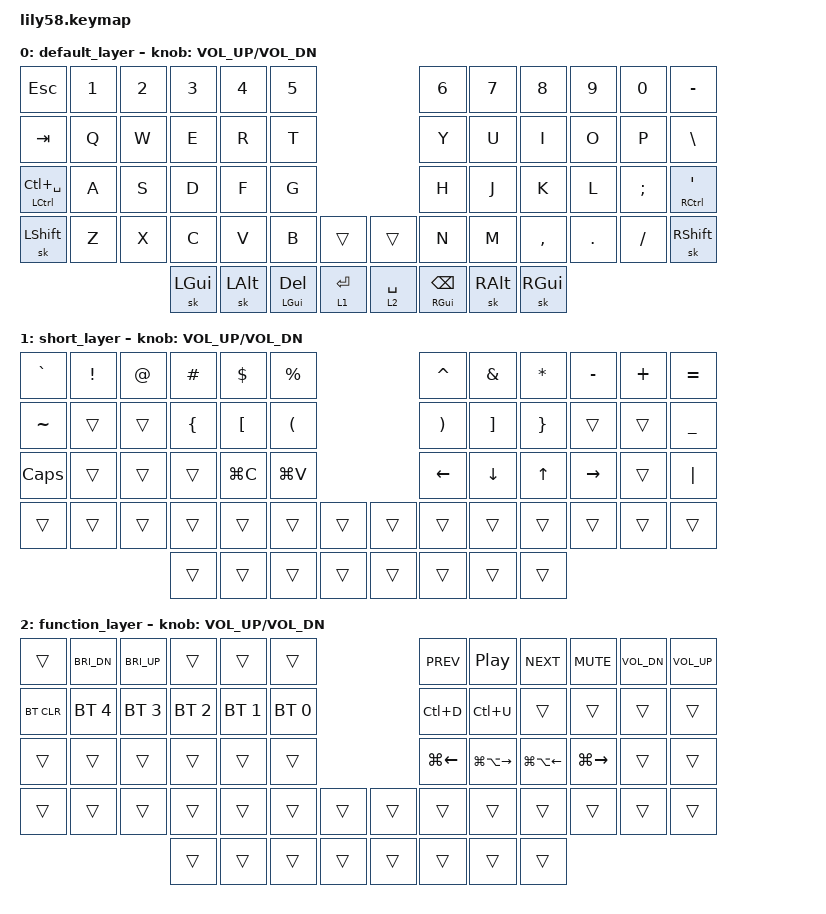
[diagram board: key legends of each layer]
/*
 * Copyright (c) 2020 The ZMK Contributors
 *
 * SPDX-License-Identifier: MIT
 */

#include <behaviors.dtsi>
#include <dt-bindings/zmk/keys.h>
#include <dt-bindings/zmk/bt.h>
#include <dt-bindings/zmk/ext_power.h>
&soft_off {
  hold-time-ms = <2000>; //Only turn off it the key is held for 2 second
  /delete-property/ split-peripheral-off-on-press; // 叫右手不要偷跑立即關機，左右手一起等滿 2 秒
    
};

/ {
    combos {
        compatible = "zmk,combos";
        combo_panic {
            timeout-ms = <50>;
            key-positions = <0 11>;
            bindings = <&to 0>;
        };
    };

    keymap {
        compatible = "zmk,keymap";

        default_layer {
// ---------------------------------------------------------------------------------------------------------------------------
// |  ESC  |  1  |  2  |  3   |  4   |    5    |                          |  6    |  7    |  8    |  9   |   0   |     -     |
// |  TAB  |  Q  |  W  |  E   |  R   |    T    |                          |  Y    |  U    |  I    |  O   |   P   |     \     |
// |  CTRL |  A  |  S  |  D   |  F   |    G    |                          |  H    |  J    |  K    |  L   |   ;   |     '     |
// | SHIFT |  Z  |  X  |  C   |  V   |    B    |           |  |           |  N    |  M    |  ,    |  .   |   /   |   SHIFT   |
//                     | GUI  | ALT  |  NUMBER |  ENTER/1  |  |  SPACE/2  | SHORT | BSPC  | GUI   |

            bindings = <
&kp ESC             &kp N1 &kp N2 &kp N3   &kp N4   &kp N5                             &kp N6        &kp N7   &kp N8    &kp N9  &kp N0   &kp MINUS
&kp TAB             &kp Q  &kp W  &kp E    &kp R    &kp T                              &kp Y         &kp U    &kp I     &kp O   &kp P    &kp BSLH
&mt LCTRL LC(SPACE) &kp A  &kp S  &kp D    &kp F    &kp G                              &kp H         &kp J    &kp K     &kp L   &kp SEMI &mt RCTRL SQT
&sk LSHFT           &kp Z  &kp X  &kp C    &kp V    &kp B        &trans    &trans      &kp N         &kp M    &kp COMMA &kp DOT &kp FSLH &sk RSHFT
                                  &sk LGUI &sk LALT &mt LGUI DEL &lt 1 RET &lt 2 SPACE &mt RGUI BSPC &sk RALT &sk RGUI
            >;

            sensor-bindings = <&inc_dec_kp C_VOL_UP C_VOL_DN>;
        };

        short_layer {
// -----------------------------------------------------------------------------------------------------
// |  `   |   !  |   @  |   #   |   $  |   %  |              |   ^  |   &  |   *  |   -  |   +  |  =   | 
// |  ~   |      |      |   {   |   [  |   (  |              |   )  |   ]  |   }  |      |      |  _   |
// | CAPS |      |      |       |      |      |              |   <  |   v  |   ^  |   >  |      |  |   |
// |      |      |      |       |      |      |     |  |     |      |      |      |      |      |      |
//                      |       |      |      |     |  |     |      |      |      |
            bindings = <
&kp GRAVE  &kp EXCL &kp AT &kp HASH &kp DOLLAR &kp PRCNT               &kp CARET &kp AMPS &kp STAR &kp MINUS &kp PLUS &kp EQUAL
&kp TILDE  &trans   &trans &kp LBRC &kp LBKT   &kp LPAR                &kp RPAR  &kp RBKT &kp RBRC &trans    &trans   &kp UNDER
&kp CAPS   &trans   &trans &trans   &kp LG(C)  &kp LG(V)               &kp LEFT  &kp DOWN &kp UP   &kp RIGHT &trans   &kp PIPE
&trans     &trans   &trans &trans   &trans     &trans    &trans &trans &trans    &trans   &trans   &trans    &trans   &trans
                           &trans   &trans     &trans    &trans &trans &trans    &trans   &trans
            >;

            sensor-bindings = <&inc_dec_kp C_VOL_UP C_VOL_DN>;
        };

        function_layer {
// ---------------------------------------------------------------------------------------------------------------------------------
// |         | BRI_DN | BRI_UP |       |       |       |                |   PRV   |   P/S    |   NXT    |  MUTE  |  VDOWN  |  VUP  |
// |  BTCLR  |   BT5  |   BT4  |  BT3  |  BT2  |  BT1  |                | NVIM PD | NVIM PU  |          |        |         |       | 
// |         | WIND 1 | WIND 2 | WIN 3 | WIN 4 | WIN 5 |                | FF PRV  |FF TAB PRV|FF TAB NXT| FF NXT |         |       |
// |         | WIND 6 | WIND 7 | WIN 8 | WIN 9 |       |      |  |      |         |          |          |        |         |       |
//                    |        |       |       |       |      |  |      |         |          |
            bindings = <
&trans     &kp C_BRI_DN &kp C_BRI_UP &trans       &trans       &trans                     &kp C_PREV   &kp C_PP          &kp C_NEXT       &kp K_MUTE    &kp C_VOL_DN &kp C_VOL_UP
&bt BT_CLR &bt BT_SEL 4 &bt BT_SEL 3 &bt BT_SEL 2 &bt BT_SEL 1 &bt BT_SEL 0               &kp LC(D)    &kp LC(U)         &trans           &trans        &trans       &trans
&trans     &trans       &trans       &trans       &trans       &trans                     &kp LG(LEFT) &kp LG(LA(RIGHT)) &kp LG(LA(LEFT)) &kp LG(RIGHT) &trans       &trans
&trans     &trans       &trans       &trans       &trans       &trans       &trans &trans &trans       &trans            &trans           &trans        &trans       &trans
                                     &trans       &trans       &trans       &trans &trans &trans       &trans            &trans
            >;

            sensor-bindings = <&inc_dec_kp C_VOL_UP C_VOL_DN>;
        };
    };
};
